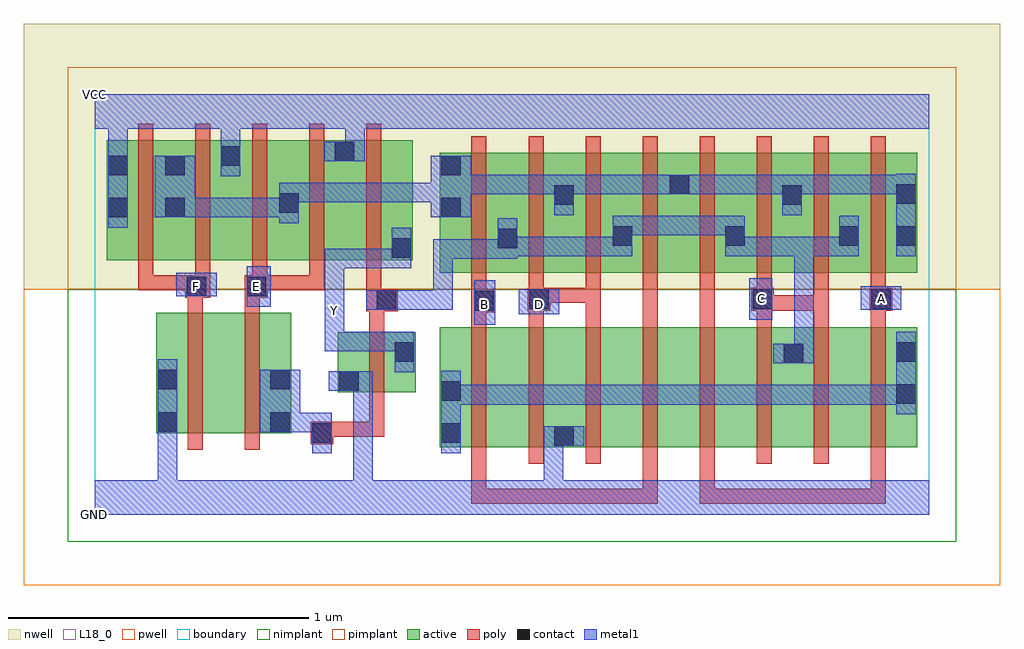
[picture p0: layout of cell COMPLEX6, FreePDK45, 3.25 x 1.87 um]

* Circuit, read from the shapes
.subckt COMPLEX6 A B C D E F GND VCC Y
M1 n1 F GND VSUBS nfet w=0.4u l=0.05u
M2 n2 E n1 VSUBS nfet w=0.4u l=0.05u
M3 Y n2 GND VSUBS nfet w=0.2u l=0.05u
M4 n3 B n4 VSUBS nfet w=0.4u l=0.05u
M5 GND D n3 VSUBS nfet w=0.4u l=0.05u
M6 n5 D GND VSUBS nfet w=0.4u l=0.05u
M7 n6 B n5 VSUBS nfet w=0.4u l=0.05u
M8 n7 A n6 VSUBS nfet w=0.4u l=0.05u
M9 n2 C n7 VSUBS nfet w=0.4u l=0.05u
M10 n8 C n2 VSUBS nfet w=0.4u l=0.05u
M11 n4 A n8 VSUBS nfet w=0.4u l=0.05u
M12 n9 F VCC n10 pfet w=0.4u l=0.05u m=2
M13 n9 E VCC n10 pfet w=0.4u l=0.05u m=2
M14 Y n2 VCC n10 pfet w=0.4u l=0.05u
M15 n2 B n9 n10 pfet w=0.4u l=0.05u m=2
M16 n9 D n2 n10 pfet w=0.4u l=0.05u m=2
M17 n2 A n9 n10 pfet w=0.4u l=0.05u m=2
M18 n9 C n2 n10 pfet w=0.4u l=0.05u m=2
.ends

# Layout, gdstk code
import gdstk
lib = gdstk.Library(unit=1e-6, precision=1e-09)
def R(c, l, rs):  # rectangles x0, y0, x1, y1
    for r in rs: c.add(gdstk.rectangle(r[:2], r[2:], *l))
def A(c, l, x, y, w, h, nx, ny, dx, dy):  # array of equal rectangles
    R(c, l, [(x+i*dx, y+j*dy, x+i*dx+w, y+j*dy+h) for i in range(nx) for j in range(ny)])
active = (1, 0)
pwell = (2, 0)
nwell = (3, 0)
nimplant = (4, 0)
pimplant = (5, 0)
poly = (9, 0)
contact = (10, 0)
metal1 = (11, 0)
L18_0 = (18, 0)
boundary = (235, 0)

complex6 = lib.new_cell('COMPLEX6')
A(complex6, active, 2.095, 0.805, 0.265, 0.4, 3, 1, 0.19, 0)
R(complex6, active, [(1.15,0.225,1.375,0.625), (1.375,0.225,1.6,0.625), (1.525,0.225,1.755,0.625), (1.525,0.225,1.6,0.617), (1.755,0.225,1.945,0.625), (1.945,0.225,2.135,0.625), (2.135,0.225,2.365,0.625), (2.29,0.225,2.515,0.625), (2.515,0.225,2.74,0.625), (1.15,0.23,1.225,0.625), (0.205,0.272,0.43,0.672), (0.205,0.272,0.28,0.672), (0.43,0.272,0.655,0.672), (0.58,0.272,0.655,0.672), (2.29,0.295,2.365,0.625), (2.665,0.295,2.74,0.625), (0.81,0.407,1.07,0.607), (0.81,0.407,0.885,0.56), (0.995,0.407,1.07,0.607), (1.15,0.805,1.225,1.2), (1.15,0.805,1.412,1.205), (1.337,0.805,1.412,1.07), (1.337,0.805,1.6,1.205), (1.525,0.805,1.795,1.205), (1.72,0.805,1.985,1.205), (1.72,0.805,1.795,1.07), (1.91,0.805,1.985,1.2), (1.91,0.805,2.17,1.205), (2.095,0.805,2.17,1.07), (2.475,0.805,2.55,1.07), (2.665,0.805,2.74,1.2), (0.04,0.847,0.305,1.247), (0.04,0.847,0.115,1.205), (0.23,0.847,0.49,1.247), (0.415,0.847,0.685,1.247), (0.61,0.847,0.87,1.247), (0.795,0.847,1.06,1.247), (0.985,0.847,1.06,1.07), (0.23,0.907,0.305,1.2), (0.415,0.907,0.49,1.247), (0.61,0.907,0.685,1.2), (0.795,0.907,0.87,1.247), (1.525,0.907,1.6,1.2), (2.285,0.907,2.36,1.2)])
R(complex6, pwell, [(-0.235,-0.235,3.015,0.75)])
R(complex6, nwell, [(-0.235,0.75,3.015,1.635)])
R(complex6, nimplant, [(-0.09,-0.09,2.87,0.75)])
R(complex6, pimplant, [(-0.09,0.75,2.87,1.49)])
A(complex6, poly, 1.255, 0.17, 0.05, 0.51, 8, 2, 0.19, 0.58)
A(complex6, poly, 2.205, 0.63, 0.05, 0.1, 3, 1, 0.19, 0)
A(complex6, poly, 0.145, 0.747, 0.05, 0.095, 4, 1, 0.19, 0)
A(complex6, poly, 0.145, 0.792, 0.05, 0.51, 5, 1, 0.19, 0)
R(complex6, poly, [(1.255,0.037,1.305,0.22), (1.255,0.037,1.305,0.087), (1.255,0.037,1.305,0.087), (1.255,0.037,1.305,0.087), (1.255,0.037,1.437,0.087), (1.387,0.037,1.437,0.087), (1.387,0.037,1.742,0.087), (1.692,0.037,1.742,0.087), (1.692,0.037,1.742,0.087), (1.692,0.037,1.742,0.087), (1.692,0.037,1.875,0.087), (1.825,0.037,1.875,0.22), (1.825,0.037,1.875,0.087), (1.825,0.037,1.875,0.087), (1.825,0.037,1.875,0.087), (2.015,0.037,2.065,0.22), (2.015,0.037,2.065,0.087), (2.015,0.037,2.065,0.087), (2.015,0.037,2.065,0.087), (2.015,0.037,2.197,0.087), (2.147,0.037,2.197,0.087), (2.147,0.037,2.197,0.087), (2.147,0.037,2.197,0.087), (2.147,0.037,2.402,0.087), (2.352,0.037,2.635,0.087), (2.352,0.037,2.402,0.087), (2.352,0.037,2.402,0.087), (2.352,0.037,2.402,0.087), (2.585,0.037,2.635,0.22), (2.585,0.037,2.635,0.087), (0.31,0.217,0.36,0.727), (0.5,0.217,0.55,0.727), (0.72,0.235,0.795,0.31), (0.745,0.26,0.965,0.31), (0.915,0.26,0.965,0.31), (0.915,0.26,0.965,0.31), (0.915,0.26,0.965,0.31), (0.915,0.26,0.965,0.402), (0.915,0.352,0.965,0.662), (0.915,0.612,0.965,0.727), (1.255,0.63,1.305,0.725), (1.445,0.63,1.495,0.73), (1.635,0.63,1.685,0.755), (1.825,0.63,1.875,0.725), (2.015,0.63,2.065,0.725), (1.255,0.675,1.335,0.75), (1.825,0.675,1.875,0.725), (1.825,0.675,1.875,0.8), (2.015,0.675,2.065,0.725), (2.015,0.675,2.065,0.8), (0.31,0.677,0.36,0.772), (0.5,0.677,0.55,0.772), (0.905,0.677,1.01,0.752), (1.442,0.68,1.517,0.755), (2.187,0.68,2.262,0.755), (2.212,0.68,2.27,0.73), (2.22,0.68,2.27,0.73), (2.22,0.68,2.445,0.73), (2.395,0.68,2.445,0.73), (2.395,0.68,2.445,0.8), (2.582,0.68,2.657,0.755), (1.255,0.7,1.305,0.8), (0.905,0.702,0.955,0.842), (1.445,0.705,1.495,0.8), (1.467,0.705,1.685,0.755), (1.635,0.705,1.685,0.8), (1.635,0.705,1.685,0.755), (1.635,0.705,1.685,0.755), (1.635,0.705,1.685,0.755), (2.205,0.705,2.255,0.8), (2.585,0.705,2.635,0.8), (0.302,0.722,0.385,0.797), (0.5,0.722,0.577,0.797), (0.145,0.747,0.195,0.797), (0.145,0.747,0.195,0.797), (0.145,0.747,0.195,0.797), (0.145,0.747,0.352,0.797), (0.527,0.747,0.59,0.797), (0.54,0.747,0.59,0.797), (0.54,0.747,0.765,0.797), (0.715,0.747,0.765,0.797)])
R(complex6, contact, [(1.53,0.23,1.595,0.295), (0.725,0.24,0.79,0.305), (1.155,0.24,1.22,0.305), (0.21,0.277,0.275,0.342), (0.585,0.277,0.65,0.342), (2.67,0.37,2.735,0.435), (1.155,0.38,1.22,0.445), (0.815,0.412,0.88,0.477), (0.21,0.417,0.275,0.482), (0.585,0.417,0.65,0.482), (2.295,0.505,2.36,0.57), (1,0.51,1.065,0.575), (2.67,0.51,2.735,0.575), (1.265,0.68,1.33,0.745), (0.94,0.682,1.005,0.747), (1.447,0.685,1.512,0.75), (2.192,0.685,2.257,0.75), (2.587,0.685,2.652,0.75), (0.307,0.727,0.372,0.792), (0.507,0.727,0.572,0.792), (0.99,0.855,1.055,0.92), (1.342,0.887,1.407,0.952), (1.725,0.895,1.79,0.96), (2.1,0.895,2.165,0.96), (2.48,0.895,2.545,0.96), (2.67,0.895,2.735,0.96), (0.045,0.99,0.11,1.055), (0.235,0.99,0.3,1.055), (1.155,0.99,1.22,1.055), (0.615,1.005,0.68,1.07), (1.53,1.032,1.595,1.097), (2.29,1.032,2.355,1.097), (2.67,1.035,2.735,1.1), (1.915,1.067,1.98,1.132), (0.045,1.13,0.11,1.195), (0.235,1.13,0.3,1.195), (1.155,1.13,1.22,1.195), (0.42,1.162,0.485,1.227), (0.8,1.177,0.865,1.242)])
R(complex6, metal1, [(0,0,2.78,0.115), (0.21,0.05,0.275,0.115), (0.21,0.05,0.275,0.115), (0.21,0.05,0.275,0.307), (0.862,0.05,0.927,0.115), (0.862,0.05,0.927,0.115), (0.862,0.05,0.927,0.115), (0.862,0.05,0.927,0.115), (0.862,0.05,0.927,0.115), (0.862,0.05,0.927,0.115), (0.862,0.05,0.927,0.477), (1.495,0.05,1.56,0.295), (0.725,0.205,0.79,0.34), (1.155,0.205,1.22,0.48), (1.495,0.23,1.56,0.295), (1.495,0.23,1.56,0.295), (1.495,0.23,1.63,0.295), (0.21,0.242,0.275,0.517), (0.55,0.275,0.685,0.482), (0.62,0.275,0.79,0.34), (2.67,0.335,2.735,0.61), (1.155,0.367,1.22,0.432), (1.155,0.367,1.22,0.432), (1.155,0.367,1.422,0.432), (1.357,0.367,1.422,0.432), (1.357,0.367,1.422,0.432), (1.357,0.367,1.422,0.432), (1.357,0.367,1.595,0.432), (1.53,0.367,1.595,0.432), (1.53,0.367,1.595,0.432), (1.53,0.367,1.595,0.432), (1.53,0.367,1.732,0.432), (1.667,0.367,1.732,0.432), (1.667,0.367,1.732,0.432), (1.667,0.367,1.732,0.432), (1.667,0.367,1.927,0.432), (1.862,0.367,1.927,0.432), (1.862,0.367,1.927,0.432), (1.862,0.367,1.927,0.432), (1.862,0.367,2.187,0.432), (2.122,0.367,2.187,0.432), (2.122,0.367,2.187,0.432), (2.122,0.367,2.187,0.432), (2.122,0.367,2.187,0.432), (2.122,0.367,2.187,0.432), (2.122,0.367,2.395,0.432), (2.33,0.367,2.395,0.432), (2.33,0.367,2.395,0.432), (2.33,0.367,2.395,0.432), (2.33,0.367,2.532,0.432), (2.467,0.367,2.532,0.432), (2.467,0.367,2.532,0.432), (2.467,0.367,2.532,0.432), (2.467,0.367,2.735,0.432), (2.67,0.367,2.735,0.432), (2.67,0.367,2.735,0.432), (0.78,0.412,0.927,0.477), (1,0.475,1.065,0.61), (2.26,0.505,2.395,0.57), (2.33,0.505,2.395,0.57), (2.33,0.505,2.395,0.57), (2.33,0.505,2.395,0.925), (0.767,0.545,0.832,0.61), (0.767,0.545,1.047,0.61), (0.767,0.545,0.832,0.677), (0.982,0.545,1.047,0.61), (0.982,0.545,1.065,0.61), (0.767,0.612,0.832,0.747), (1.265,0.632,1.335,0.78), (2.18,0.65,2.257,0.787), (1.412,0.667,1.547,0.75), (0.767,0.682,0.832,0.885), (0.905,0.682,1.04,0.747), (0.975,0.682,1.04,0.747), (0.975,0.682,1.04,0.747), (0.975,0.682,1.192,0.747), (1.127,0.682,1.192,0.747), (1.127,0.682,1.192,0.917), (2.552,0.682,2.687,0.76), (0.507,0.692,0.587,0.827), (0.272,0.727,0.407,0.805), (0.767,0.82,0.832,0.885), (0.767,0.82,1.047,0.885), (0.982,0.82,1.047,0.885), (0.982,0.82,1.055,0.885), (0.99,0.82,1.055,0.955), (1.127,0.852,1.192,0.917), (1.127,0.852,1.27,0.917), (1.205,0.852,1.27,0.917), (1.205,0.852,1.407,0.917), (1.342,0.852,1.407,0.987), (1.342,0.86,1.407,0.925), (1.342,0.86,1.407,0.925), (1.342,0.86,1.595,0.925), (1.53,0.86,1.595,0.925), (1.53,0.86,1.595,0.925), (1.53,0.86,1.595,0.925), (1.53,0.86,1.79,0.925), (1.725,0.86,1.79,0.995), (2.1,0.86,2.165,0.925), (2.1,0.86,2.165,0.925), (2.1,0.86,2.165,0.995), (2.1,0.86,2.395,0.925), (2.33,0.86,2.395,0.925), (2.33,0.86,2.395,0.925), (2.33,0.86,2.395,0.925), (2.33,0.86,2.545,0.925), (2.48,0.86,2.545,0.995), (2.67,0.86,2.735,1.135), (1.725,0.93,1.79,0.995), (1.725,0.93,1.79,0.995), (1.725,0.93,1.927,0.995), (1.862,0.93,1.927,0.995), (1.862,0.93,1.927,0.995), (1.862,0.93,1.927,0.995), (1.862,0.93,2.165,0.995), (0.045,0.955,0.11,1.23), (0.615,0.97,0.68,1.105), (0.2,0.99,0.335,1.195), (0.27,0.99,0.335,1.055), (0.27,0.99,0.335,1.055), (0.27,0.99,0.472,1.055), (0.407,0.99,0.472,1.055), (0.407,0.99,0.472,1.055), (0.407,0.99,0.472,1.055), (0.407,0.99,0.68,1.055), (1.12,0.99,1.255,1.195), (1.53,0.997,1.595,1.132), (2.29,0.997,2.355,1.132), (0.615,1.04,0.68,1.105), (0.615,1.04,0.68,1.105), (0.615,1.04,0.68,1.105), (0.615,1.04,0.68,1.105), (0.615,1.04,0.822,1.105), (0.757,1.04,0.822,1.105), (0.757,1.04,1.037,1.105), (0.972,1.04,1.037,1.105), (0.972,1.04,1.037,1.105), (0.972,1.04,1.037,1.105), (0.972,1.04,1.185,1.105), (1.19,1.067,1.255,1.132), (1.19,1.067,1.255,1.132), (1.19,1.067,1.407,1.132), (1.342,1.067,1.407,1.132), (1.342,1.067,1.407,1.132), (1.342,1.067,1.407,1.132), (1.342,1.067,1.595,1.132), (1.53,1.067,1.595,1.132), (1.53,1.067,1.595,1.132), (1.53,1.067,1.732,1.132), (1.667,1.067,1.732,1.132), (1.667,1.067,1.732,1.132), (1.667,1.067,1.732,1.132), (1.667,1.067,1.945,1.132), (1.88,1.067,2.015,1.132), (1.95,1.067,2.015,1.132), (1.95,1.067,2.015,1.132), (1.95,1.067,2.187,1.132), (2.122,1.067,2.187,1.132), (2.122,1.067,2.187,1.132), (2.122,1.067,2.187,1.132), (2.122,1.067,2.355,1.132), (2.29,1.067,2.48,1.132), (2.415,1.067,2.48,1.132), (2.415,1.067,2.597,1.132), (2.532,1.067,2.597,1.132), (2.532,1.067,2.735,1.132), (2.67,1.067,2.735,1.132), (2.67,1.067,2.735,1.132), (0.42,1.127,0.485,1.262), (0.045,1.165,0.11,1.35), (0.765,1.177,0.9,1.242), (0.835,1.177,0.9,1.35), (0.42,1.197,0.485,1.35), (0,1.285,2.78,1.4)])
R(complex6, L18_0, [(0,0,2.78,0.115), (0.21,0.05,0.275,0.115), (0.21,0.05,0.275,0.115), (0.21,0.05,0.275,0.307), (0.862,0.05,0.927,0.115), (0.862,0.05,0.927,0.115), (0.862,0.05,0.927,0.115), (0.862,0.05,0.927,0.115), (0.862,0.05,0.927,0.115), (0.862,0.05,0.927,0.115), (0.862,0.05,0.927,0.477), (1.495,0.05,1.56,0.295), (1.495,0.23,1.56,0.295), (1.495,0.23,1.56,0.295), (1.495,0.23,1.63,0.295), (0.21,0.242,0.275,0.517), (0.78,0.412,0.927,0.477), (1,0.475,1.065,0.61), (0.767,0.545,0.832,0.61), (0.767,0.545,0.832,0.677), (0.767,0.545,1.047,0.61), (0.982,0.545,1.047,0.61), (0.982,0.545,1.065,0.61), (0.767,0.612,0.832,0.747), (1.265,0.632,1.335,0.78), (0.767,0.647,0.832,0.712), (2.18,0.65,2.257,0.787), (1.267,0.667,1.332,0.732), (1.412,0.667,1.547,0.75), (1.447,0.667,1.512,0.732), (0.767,0.682,0.832,0.885), (2.552,0.682,2.687,0.76), (2.187,0.687,2.252,0.752), (2.587,0.687,2.652,0.752), (0.507,0.692,0.587,0.827), (0.272,0.727,0.407,0.805), (0.307,0.727,0.372,0.792), (0.507,0.727,0.572,0.792), (0.767,0.82,0.832,0.885), (0.767,0.82,1.047,0.885), (0.982,0.82,1.047,0.885), (0.982,0.82,1.055,0.885), (0.99,0.82,1.055,0.955), (0.045,0.955,0.11,1.23), (0.42,1.127,0.485,1.262), (0.045,1.165,0.11,1.35), (0.765,1.177,0.9,1.242), (0.835,1.177,0.9,1.35), (0.42,1.197,0.485,1.35), (0,1.285,2.78,1.4)])
R(complex6, boundary, [(0,0,2.78,1.4)])
complex6.add(gdstk.Label('A', (2.62,0.72), layer=11, texttype=0))
complex6.add(gdstk.Label('B', (1.3,0.7), layer=11, texttype=0))
complex6.add(gdstk.Label('C', (2.22,0.72), layer=11, texttype=0))
complex6.add(gdstk.Label('D', (1.48,0.7), layer=11, texttype=0))
complex6.add(gdstk.Label('E', (0.54,0.76), layer=11, texttype=0))
complex6.add(gdstk.Label('F', (0.34,0.76), layer=11, texttype=0))
complex6.add(gdstk.Label('Y', (0.8,0.68), layer=11, texttype=0))
complex6.add(gdstk.Label('VCC', (0,1.4), layer=11, texttype=0))
complex6.add(gdstk.Label('GND', (0,0), layer=11, texttype=0))

lib.write_gds('COMPLEX6.gds')
